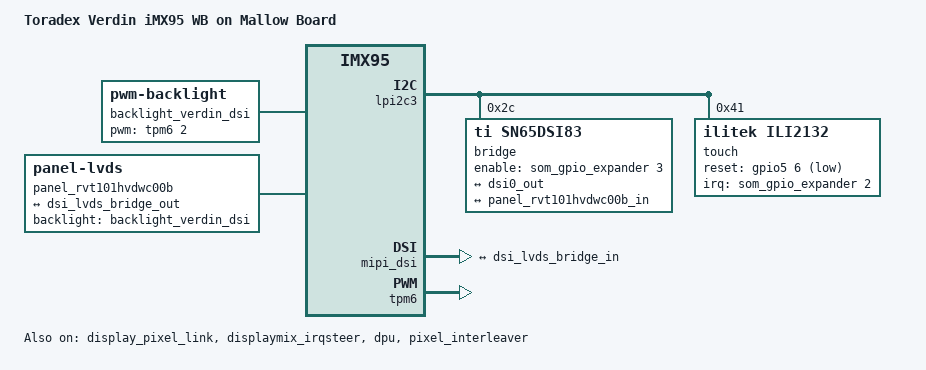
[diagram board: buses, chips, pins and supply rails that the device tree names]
// SPDX-License-Identifier: GPL-2.0-or-later OR MIT
/*
 * Copyright (C) 2025 Toradex
 *
 * https://www.toradex.com/computer-on-modules/verdin-arm-family/nxp-imx95
 * https://www.toradex.com/products/carrier-board/mallow-carrier-board
 */

/dts-v1/;

#include "imx95-verdin.dtsi"
#include "imx95-verdin-wifi.dtsi"
#include "imx95-verdin-mallow.dtsi"

/ {
	model = "Toradex Verdin iMX95 WB on Mallow Board";
	compatible = "toradex,verdin-imx95-wifi-mallow",
		     "toradex,verdin-imx95-wifi",
		     "toradex,verdin-imx95",
		     "fsl,imx95";

	backlight_verdin_dsi: backlight-verdin-dsi {
		compatible = "pwm-backlight";
		brightness-levels = <0 45 63 88 119 158 203 255>;
		default-brightness-level = <4>;
		/* Verdin PWM_3_DSI (SODIMM 19) */
		pwms = <&tpm6 2 6666667 0>;
	};

	panel_rvt101hvdwc00b: panel-rvt101hvdwc00b {
		compatible = "panel-lvds";
		data-mapping = "vesa-24";
		height-mm = <136>;
		width-mm = <217>;
		status = "okay";

		/*
		 * These timings are hand-optimized and more stable then theoretical
		 * In particular HBP+HS should be 88 (display datasheet)
		 * Likely an higher value is needed due to dsi to lvds pipeline.
		 */
		panel-timing {
			clock-frequency = <66300000 71100000 78900000>;
			de-active = <1>;
			hactive = <1280 1280 1280>;
			hback-porch = <64 64 64>;
			hfront-porch = <36 36 36>;
			hsync-active = <0>;
			hsync-len = <24 24 24>;
			pixelclk-active = <1>;
			vactive = <800 800 800>;
			vback-porch = <24 24 24>;
			vfront-porch = <8 8 8>;
			vsync-active = <0>;
			vsync-len = <8 8 8>;
		};
	};
};

&display_pixel_link {
	status = "okay";
};

&displaymix_irqsteer {
	status = "okay";
};

&dpu {
	assigned-clocks = <&scmi_clk IMX95_CLK_DISP1PIX>,
			  <&scmi_clk IMX95_CLK_VIDEOPLL1_VCO>,
			  <&scmi_clk IMX95_CLK_VIDEOPLL1>;
	assigned-clock-parents = <&scmi_clk IMX95_CLK_VIDEOPLL1>;
	assigned-clock-rates = <0>, <3360000000>, <420000000>;
	status = "okay";
};

/* Verdin I2C_2_DSI */
&lpi2c3 {
	#address-cells = <1>;
	#size-cells = <0>;
	status = "okay";

	bridge@2c {
		compatible = "ti,sn65dsi83";
		reg = <0x2c>;
		/* Verdin GPIO_10_DSI (DSI_1_BKL_EN, SODIMM 21) */
		enable-gpios = <&som_gpio_expander 3 GPIO_ACTIVE_HIGH>;

		ports {
			#address-cells = <1>;
			#size-cells = <0>;

			port@0 {
				reg = <0>;

				dsi_lvds_bridge_in: endpoint {
					data-lanes = <1 2 3 4>;
					remote-endpoint = <&dsi0_out>;
				};
			};

			port@2 {
				reg = <2>;

				dsi_lvds_bridge_out: endpoint {
					remote-endpoint = <&panel_rvt101hvdwc00b_in>;
				};
			};
		};
	};

	touch@41 {
		compatible = "ilitek,ili2132";
		reg = <0x41>;
		pinctrl-names = "default";
		pinctrl-0 = <&pinctrl_i2s_2_bclk_gpio>;
		/* Verdin GPIO_9_DSI (DSI_1_INT#, SODIMM 17) */
		interrupt-parent = <&som_gpio_expander>;
		interrupts = <2 IRQ_TYPE_EDGE_FALLING>;
		/* Verdin I2S_2_BCLK (SODIMM 42) */
		reset-gpios = <&gpio5 6 GPIO_ACTIVE_LOW>;
	};
};

&mipi_dsi {
	status = "okay";

	ports {
		#address-cells = <1>;
		#size-cells = <0>;

		port@1 {
			reg = <1>;

			dsi0_out: endpoint {
				remote-endpoint = <&dsi_lvds_bridge_in>;
			};
		};
	};
};

&panel_rvt101hvdwc00b {
	backlight = <&backlight_verdin_dsi>;

	panel-timing {
		clock-frequency = <70000000>;
	};

	port {
		panel_rvt101hvdwc00b_in: endpoint {
			remote-endpoint = <&dsi_lvds_bridge_out>;
		};
	};
};

&pixel_interleaver {
	#address-cells = <1>;
	#size-cells = <0>;
	status = "okay";

	channel@0 {
		reg = <0>;
		status = "okay";
	};
};

/* Verdin PWM_3_DSI */
&tpm6 {
	status = "okay";
};
